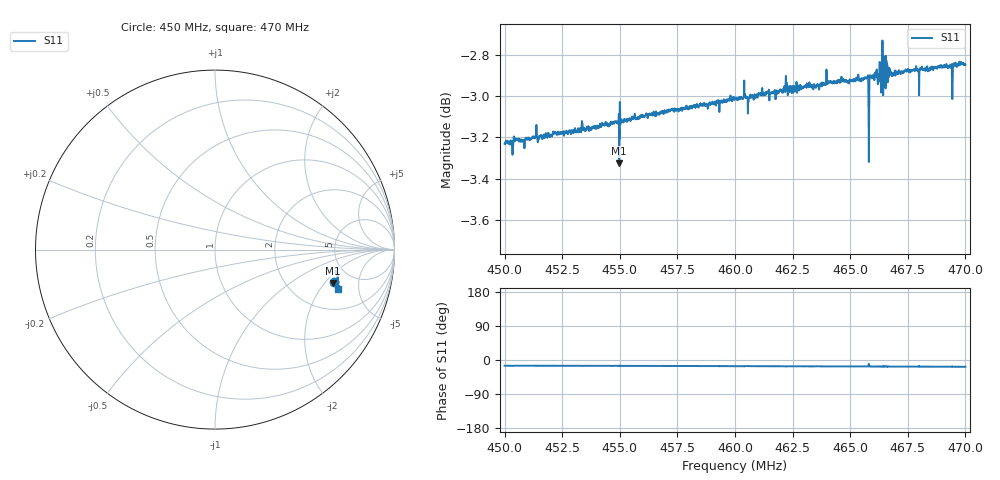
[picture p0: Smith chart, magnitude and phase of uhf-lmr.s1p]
! Calibrated averaged scanner-service zoom
# Hz S RI R 50
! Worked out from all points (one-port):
!   2001 points, 450 MHz to 470 MHz, reference 50 ohm
!   lowest |S11| = -3.3 dB at 454.97 MHz (marker M1), VSWR 5.29, Z = 175 - j122 ohm
!   |S11| at or under -10 dB: nowhere
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4.5e8  0.6658 -0.1789
4.525e8  0.6688 -0.1827
4.5497e8  0.6561 -0.1858
4.55e8  0.68 -0.1883
4.575e8  0.6759 -0.1918
4.6e8  0.6792 -0.1965
4.6045e8  0.6796 -0.1985
4.6065e8  0.6798 -0.1985
4.6208e8  0.68 -0.2019
4.6216e8  0.6813 -0.2014
4.625e8  0.6812 -0.2033
4.65e8  0.6831 -0.2082
4.6568e8  0.6834 -0.2099
4.6573e8  0.6837 -0.2101
4.6588e8  0.684 -0.2113
4.659e8  0.6836 -0.2111
4.6593e8  0.6845 -0.2107
4.6595e8  0.6836 -0.21
4.6629e8  0.6852 -0.209
4.6648e8  0.6788 -0.2138
4.6669e8  0.6834 -0.2127
4.675e8  0.6854 -0.2149
4.6782e8  0.6851 -0.2156
4.68e8  0.6842 -0.2108
4.6813e8  0.6855 -0.2171
4.6914e8  0.6857 -0.2197
4.6935e8  0.686 -0.2198
4.7e8  0.6855 -0.2219
